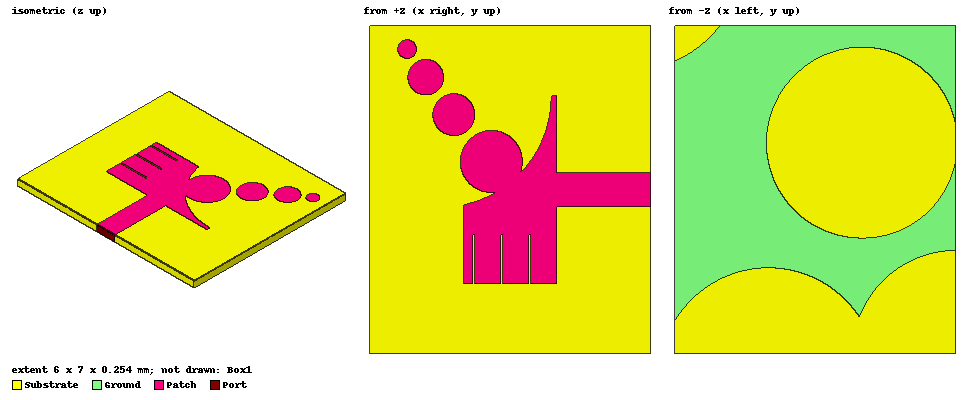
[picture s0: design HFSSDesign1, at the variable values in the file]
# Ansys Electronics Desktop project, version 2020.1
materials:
  vacuum: permittivity=1
  Rogers RT/duroid 5880 (tm): permittivity=2.2 dielectric_loss_tangent=0.0009
  air: permittivity=1.0006 permeability=1.0000004

design HFSSDesign1 (HFSS, DrivenModal, model units mm)
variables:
  rgc4 = 2.2mm
  RGC = 2.04mm
  RGC2 = 1.1mm
  ps3R = 0.2mm
  ps2R = 0.38mm
  rsx = 0.04mm
  rsy = 1.23mm
  WP = 4mm
  ps1R = 0.4472136mm
  LS = 6mm
  WS = 7mm
  HS = 0.254mm
  WF = 0.72mm
  pcR = 0.66245553mm
  LI = 0.5mm
  WI = 0.2mm
  LF = 3mm
  HR = 10mm
  WR = 20mm
  LR = 20mm
  rgc5 = 2.33mm
  LP = 2mm
  rgc3 = 2.47mm
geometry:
  Ground = rectangle(corner=(-LS/2, -WS/2, 0mm), x_size=LS, y_size=WS)
  coordinate_system RelativeCS1 = origin=(0mm, 0mm, 0mm) x=(1mm, 0mm, 0mm) y=(0mm, 1mm, 0mm)
  Ellipse1 = ellipse(normal=Z, centre=(-1mm, 1mm, 0mm), major_radius=RGC, ratio=1) in RelativeCS1
  Ground.subtract(Ellipse1)
  Circle6 = circle(normal=Z, centre=(3mm, -4mm, 0mm), radius=RGC2) in RelativeCS1
  Ground.subtract(Circle6)
  Circle7 = circle(normal=Z, centre=(4mm, 5mm, 0mm), radius=rgc3) in RelativeCS1
  Ground.subtract(Circle7)
  Circle8 = circle(normal=Z, centre=(-3mm, -3.5mm, 0mm), radius=rgc4) in RelativeCS1
  Ground.subtract(Circle8)
  Circle9 = circle(normal=Z, centre=(1mm, -4mm, 0mm), radius=rgc5) in RelativeCS1
  Ground.subtract(Circle9)
  Substrate [Rogers RT/duroid 5880 (tm)] = box(corner=(-LS/2, -WS/2, 0mm), size=(LS, WS, HS))
  Patch = rectangle(corner=(-LP/2, -WP/2, HS), x_size=LP, y_size=WP)
  Inset = rectangle(corner=(LF-4*LI, -(WF+WI)/2, HS), x_size=LI, y_size=WF+WI) in RelativeCS1
  Patch.subtract(Inset)
  Feed = rectangle(corner=(0, -WF/2, HS), x_size=LF, y_size=WF) in RelativeCS1
  Patch.unite(Feed)
  Circle1 = circle(normal=Z, centre=(-1.5mm, 2mm, HS), radius=2.3769729mm) in RelativeCS1
  Patch.subtract(Circle1)
  Circle2 = circle(normal=Z, centre=(-0.4mm, 0.6mm, HS), radius=pcR) in RelativeCS1
  Patch.unite(Circle2)
  Rectangle1 = rectangle(corner=(-1.4mm, -2.2mm, HS), x_size=rsx, y_size=rsy) in RelativeCS1
  Patch.subtract(Rectangle1)
  Rectangle2 = rectangle(corner=(-0.8mm, -2.2mm, HS), x_size=rsx, y_size=rsy) in RelativeCS1
  Patch.subtract(Rectangle2)
  Rectangle3 = rectangle(corner=(-0.2mm, -2.2mm, HS), x_size=rsx, y_size=rsy) in RelativeCS1
  Patch.subtract(Rectangle3)
  Rectangle4 = rectangle(corner=(0.4mm, -2.2mm, HS), x_size=rsx, y_size=rsy) in RelativeCS1
  Patch.subtract(Rectangle4)
  Rectangle5 = rectangle(corner=(1mm, -2.2mm, HS), x_size=rsx, y_size=rsy) in RelativeCS1
  Patch.subtract(Rectangle5)
  Circle5 = circle(normal=Z, centre=(-2.2mm, 3mm, HS), radius=ps3R) in RelativeCS1
  Circle4 = circle(normal=Z, centre=(-1.8mm, 2.4mm, HS), radius=ps2R) in RelativeCS1
  Circle3 = circle(normal=Z, centre=(-1.2mm, 1.6mm, HS), radius=ps1R) in RelativeCS1
  Patch.unite(Circle5, Circle4, Circle3)
  Port = rectangle(corner=(LS/2, -WF/2, HS), y_size=WF, z_size=-HS) in RelativeCS1
  Box1 [air] = box(corner=(-LR/2, -WR/2, -HR/2), size=(LR, WR, HR)) in RelativeCS1
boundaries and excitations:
  Rad1: Radiation Objects=Box1
  PerfE1: Perfect E Objects=Ground
  PerfE2: Perfect E Objects=Patch
  1: Lumped Port Objects=Port Modes{Mode1{IntLine{Port.edge(3 of 4) at 0.553 along -> middle of Port.edge(1 of 4)} CharImp=Zpi RenormImp=50ohm}} Impedance=50ohm
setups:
  Setup1: HfssDriven Frequency=28GHz MaxDeltaS=0.02 MaximumPasses=6 MinimumPasses=1 MinimumConvergedPasses=1 PercentRefinement=30 BasisOrder=1 PortAccuracy=2
    sweep Sweep: 20GHz to 50GHz, 401 points; Type=Interpolating InterpTolerance=0.5 InterpMaxSolns=250 InterpUsePortImped=false PassivityErrorTolerance=0.0001
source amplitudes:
  1:1: 1W 0deg
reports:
  S Parameter Plot 1: dB(S(1,1)) vs Freq on Setup1 : Sweep; markers m1 at 28.025GHz, m24 at 28.00005GHz, m25 at 25.55GHz, m26 at 26GHz
